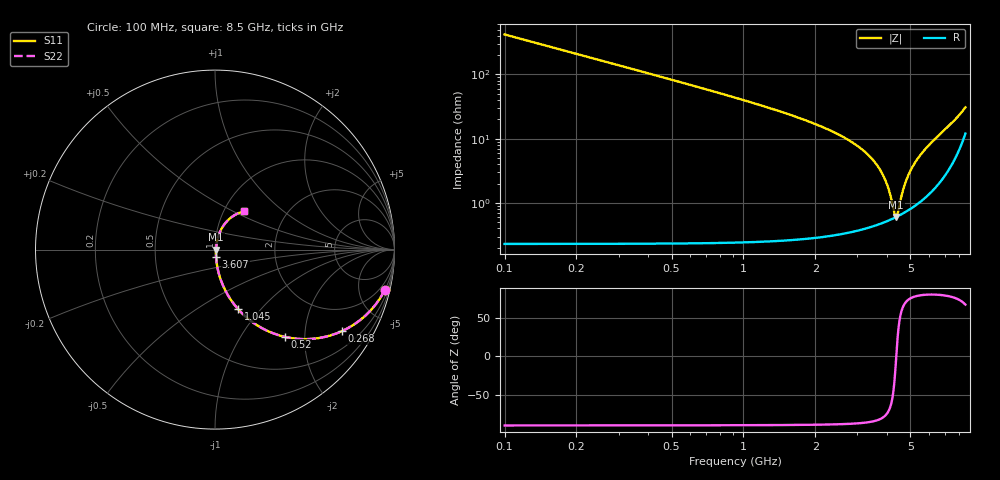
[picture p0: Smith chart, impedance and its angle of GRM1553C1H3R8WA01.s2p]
!Murata Part Number: GRM1553C1H3R8WA01
!These Parameters are Measured in Series Mode Connection
!Data Generated on Mar 30, 2021
!  o--ll--o
!Port1  Port2
!  o------o
!Operation Temp=25[degC], DC Bias Voltage=0[V]
!Freq. Start=100[MHz] Stop=9[GHz] 401[Steps]
# Hz S RI R 50
!Freq.(Hz) S11(Real) S11(Imag) S21(Real) S21(Imag) S12(Real) S12(Imag) S22(Real) S22(Imag)
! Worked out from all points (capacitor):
!   401 points, 100 MHz to 8.5 GHz, reference 50 ohm
!   read as one part in series: C = 3.8 pF near 142 MHz
!   lowest |Z| = 604 mohm at 4.363 GHz (marker M1)
!   series resonance near 4.365 GHz, so ESL is about 350 pH
!   S11 on the Smith chart (normalised r, x): 100 MHz: 1.00, -8.37; 268 MHz: 1.00, -3.11; 520 MHz: 1.00, -1.59; 1.045 GHz: 1.00, -0.76; 3.607 GHz: 1.01, -0.08; 8.5 GHz: 1.24, +0.57
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1e8  0.9459 -0.2259  0.0541 0.2259  0.0541 0.2259  0.9459 -0.2259
1.84e8  0.8375 -0.3684  0.1625 0.3684  0.1625 0.3684  0.8375 -0.3684
2.68e8  0.7078 -0.454  0.2922 0.454  0.2922 0.454  0.7078 -0.454
3.73e8  0.5543 -0.496  0.4457 0.496  0.4457 0.496  0.5543 -0.496
5.2e8  0.3876 -0.4857  0.6124 0.4857  0.6124 0.4857  0.3876 -0.4857
7.51e8  0.2285 -0.4177  0.7715 0.4177  0.7715 0.4177  0.2285 -0.4177
1.045e9  0.1277 -0.3306  0.8723 0.3306  0.8723 0.3306  0.1277 -0.3306
1.507e9  0.0599 -0.2322  0.9401 0.2322  0.9401 0.2322  0.0599 -0.2322
2.914e9  0.0104 -0.0822  0.9896 0.0822  0.9896 0.0822  0.0104 -0.0822
3.607e9  0.00603 -0.0391  0.994 0.0391  0.994 0.0391  0.00603 -0.0391
3.817e9  0.00561 -0.0277  0.9944 0.0277  0.9944 0.0277  0.00561 -0.0277
3.985e9  0.00552 -0.0189  0.9945 0.0189  0.9945 0.0189  0.00552 -0.0189
4.111e9  0.00558 -0.0125  0.9944 0.0125  0.9944 0.0125  0.00558 -0.0125
4.3e9  0.00586 -0.00315  0.9941 0.00315  0.9941 0.00315  0.00586 -0.00315
4.363e9  0.006 -7.85e-05  0.994 7.85e-05  0.994 7.85e-05  0.006 -7.85e-05
4.426e9  0.00617 0.00297  0.9938 -0.00297  0.9938 -0.00297  0.00617 0.00297
4.678e9  0.00711 0.015  0.9929 -0.015  0.9929 -0.015  0.00711 0.015
4.888e9  0.00819 0.0248  0.9918 -0.0248  0.9918 -0.0248  0.00819 0.0248
5.245e9  0.0107 0.0413  0.9893 -0.0413  0.9893 -0.0413  0.0107 0.0413
5.707e9  0.0155 0.0627  0.9845 -0.0627  0.9845 -0.0627  0.0155 0.0627
7.114e9  0.0477 0.1345  0.9523 -0.1345  0.9523 -0.1345  0.0477 0.1345
8.5e9  0.1608 0.2126  0.8392 -0.2126  0.8392 -0.2126  0.1608 0.2126
